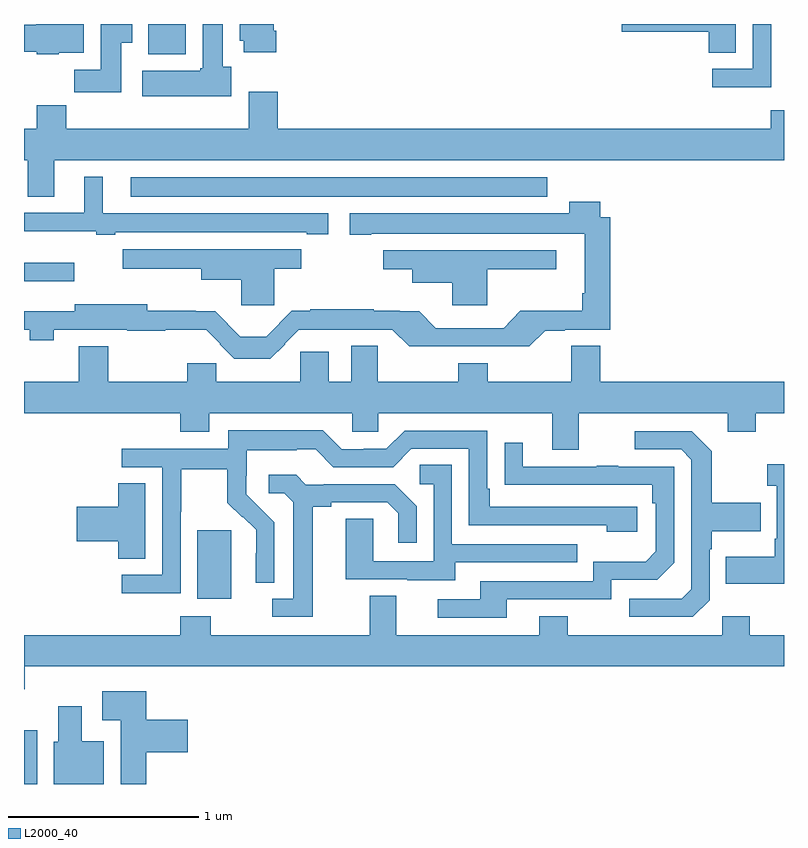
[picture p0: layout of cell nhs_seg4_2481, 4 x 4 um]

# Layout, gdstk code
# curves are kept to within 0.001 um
import gdstk
lib = gdstk.Library(unit=1e-6, precision=1e-09)
def R(c, l, rs):  # rectangles x0, y0, x1, y1
    for r in rs: c.add(gdstk.rectangle(r[:2], r[2:], *l))
def P(c, l, *ps):  # polygons
    for p in ps: c.add(gdstk.Polygon(p, *l))
L2000_40 = (2000, 40)

nhs_seg4_2481 = lib.new_cell('nhs_seg4_2481')
R(nhs_seg4_2481, L2000_40, [(241,762.9,241.069,763.183), (241.913,763.874,242.092,764.235), (241,765.545,241.264,765.643), (241.563,765.992,243.754,766.093), (241.655,766.742,241.852,766.9)])
P(nhs_seg4_2481, L2000_40, [(244.932,766.9),(244.836,766.9),(244.836,766.665),(244.623,766.665),(244.623,766.567),(244.932,766.567)],
  [(244.747,766.9),(244.146,766.9),(244.146,766.859),(244.604,766.859),(244.604,766.75),(244.747,766.75)],
  [(241.513,766.801),(241.57,766.801),(241.57,766.9),(241.403,766.9),(241.403,766.66),(241.264,766.66),(241.264,766.542),(241.513,766.542)],
  [(242.327,766.864),(242.314,766.864),(242.314,766.9),(242.135,766.9),(242.135,766.812),(242.156,766.812),(242.156,766.752),(242.327,766.752)],
  [(242.092,766.674),(242.047,766.674),(242.047,766.9),(241.94,766.9),(241.94,766.668),(241.927,766.668),(241.927,766.654),(241.623,766.654),(241.623,766.52),(242.092,766.52)],
  [(241.182,766.748),(241.315,766.748),(241.315,766.9),(241.064,766.9),(241.064,766.895),(241,766.895),(241,766.753),(241.068,766.753),(241.068,766.742),(241.182,766.742)],
  [(241.159,766.184),(245,766.184),(245,766.447),(244.931,766.447),(244.931,766.348),(242.336,766.348),(242.336,766.543),(242.183,766.543),(242.183,766.348),(241.223,766.348),(241.223,766.472),(241.067,766.472),(241.067,766.348),(241,766.348),(241,766.184),(241.019,766.184),(241.019,765.991),(241.159,765.991)],
  [(241.48,765.803),(242.489,765.803),(242.489,765.793),(242.602,765.793),(242.602,765.904),(241.414,765.904),(241.414,766.096),(241.316,766.096),(241.316,765.906),(241,765.906),(241,765.809),(241.38,765.809),(241.38,765.791),(241.48,765.791)],
  [(242.374,765.215),(242.372,765.218),(242.445,765.291),(242.939,765.291),(243.027,765.203),(243.66,765.203),(243.743,765.286),(243.847,765.286),(243.847,765.291),(244.085,765.291),(244.085,765.883),(244.034,765.883),(244.034,765.964),(243.869,765.964),(243.869,765.904),(242.715,765.904),(242.715,765.79),(242.827,765.79),(242.827,765.797),(243.95,765.797),(243.95,765.484),(243.938,765.484),(243.938,765.39),(243.613,765.39),(243.524,765.3),(243.168,765.3),(243.08,765.388),(242.978,765.388),(242.978,765.39),(242.84,765.39),(242.84,765.4),(242.506,765.4),(242.506,765.39),(242.409,765.39),(242.274,765.255),(242.139,765.255),(242.006,765.388),(241.904,765.388),(241.904,765.39),(241.648,765.39),(241.648,765.424),(241.268,765.424),(241.268,765.388),(241,765.388),(241,765.291),(241.029,765.291),(241.029,765.236),(241.157,765.236),(241.157,765.291),(241.544,765.291),(241.544,765.286),(241.744,765.286),(241.744,765.29),(241.96,765.29),(242.033,765.218),(242.03,765.215),(242.107,765.137),(242.297,765.137)],
  [(242.318,765.611),(242.458,765.611),(242.458,765.715),(241.521,765.715),(241.521,765.611),(241.934,765.611),(241.934,765.554),(242.144,765.554),(242.144,765.42),(242.318,765.42)],
  [(243.437,765.61),(243.802,765.61),(243.802,765.708),(242.892,765.708),(242.892,765.61),(243.044,765.61),(243.044,765.539),(243.254,765.539),(243.254,765.42),(243.437,765.42)],
  [(241.443,765.205),(241.288,765.205),(241.288,765.016),(241,765.016),(241,764.852),(241.823,764.852),(241.823,764.753),(241.975,764.753),(241.975,764.852),(242.727,764.852),(242.727,764.754),(242.865,764.754),(242.865,764.852),(243.779,764.852),(243.779,764.658),(243.919,764.658),(243.919,764.852),(244.703,764.852),(244.703,764.753),(244.851,764.753),(244.851,764.852),(245,764.852),(245,765.016),(244.034,765.016),(244.034,765.206),(243.881,765.206),(243.881,765.016),(243.441,765.016),(243.441,765.115),(243.286,765.115),(243.286,765.016),(242.863,765.016),(242.863,765.206),(242.723,765.206),(242.723,765.016),(242.605,765.016),(242.605,765.175),(242.454,765.175),(242.454,765.016),(242.012,765.016),(242.012,765.114),(241.858,765.114),(241.858,765.016),(241.443,765.016)],
  [(241.824,764.332),(241.827,764.332),(241.827,764.556),(242.071,764.556),(242.071,764.381),(242.148,764.304),(242.151,764.307),(242.222,764.237),(242.222,764.114),(242.22,764.114),(242.22,763.96),(242.316,763.96),(242.316,764.278),(242.17,764.426),(242.17,764.523),(242.172,764.523),(242.172,764.657),(242.435,764.657),(242.435,764.661),(242.535,764.661),(242.628,764.568),(242.943,764.568),(243.039,764.664),(243.342,764.664),(243.342,764.262),(244.067,764.262),(244.067,764.228),(244.228,764.228),(244.228,764.358),(243.451,764.358),(243.451,764.455),(243.438,764.455),(243.438,764.76),(243.003,764.76),(242.907,764.664),(242.789,764.664),(242.789,764.661),(242.673,764.661),(242.573,764.761),(242.076,764.761),(242.076,764.664),(241.515,764.664),(241.515,764.568),(241.728,764.568),(241.728,764.001),(241.515,764.001),(241.515,763.903),(241.824,763.903)],
  [(244.608,763.866),(244.608,764.135),(244.621,764.135),(244.621,764.231),(244.877,764.231),(244.877,764.379),(244.621,764.379),(244.621,764.651),(244.515,764.757),(244.215,764.757),(244.215,764.661),(244.458,764.661),(244.512,764.607),(244.512,763.926),(244.461,763.875),(244.185,763.875),(244.185,763.779),(244.521,763.779)],
  [(243.541,763.872),(244.092,763.872),(244.092,763.974),(244.332,763.974),(244.422,764.064),(244.422,764.571),(244.127,764.571),(244.127,764.576),(244.015,764.576),(244.015,764.571),(243.625,764.571),(243.625,764.695),(243.529,764.695),(243.529,764.476),(244.306,764.475),(244.306,764.378),(244.326,764.378),(244.326,764.124),(244.273,764.071),(243.996,764.071),(243.996,763.968),(243.401,763.968),(243.401,763.872),(243.177,763.872),(243.177,763.776),(243.541,763.776)],
  [(245,764.584),(244.911,764.584),(244.911,764.471),(244.962,764.471),(244.962,764.191),(244.95,764.191),(244.95,764.095),(244.693,764.095),(244.693,763.955),(245,763.955)],
  [(243.271,764.067),(243.911,764.067),(243.911,764.163),(243.252,764.163),(243.252,764.579),(243.084,764.579),(243.084,764.478),(243.156,764.478),(243.156,764.073),(242.838,764.073),(242.838,764.297),(242.693,764.297),(242.693,763.977),(243.017,763.977),(243.017,763.973),(243.271,763.973)],
  [(242.521,764.36),(242.617,764.36),(242.617,764.382),(242.912,764.382),(242.969,764.325),(242.969,764.169),(243.066,764.169),(243.066,764.362),(242.95,764.478),(242.578,764.478),(242.578,764.475),(242.484,764.475),(242.432,764.527),(242.289,764.527),(242.289,764.43),(242.37,764.43),(242.417,764.383),(242.417,763.875),(242.307,763.875),(242.307,763.779),(242.521,763.779)],
  [(241.639,764.483),(241.496,764.483),(241.496,764.36),(241.278,764.36),(241.278,764.177),(241.496,764.177),(241.496,764.086),(241.639,764.086)],
  [(245,763.684),(244.821,763.684),(244.821,763.783),(244.674,763.783),(244.674,763.684),(243.861,763.684),(243.861,763.783),(243.713,763.783),(243.713,763.684),(242.959,763.684),(242.959,763.892),(242.819,763.892),(242.819,763.684),(241.983,763.684),(241.983,763.783),(241.823,763.783),(241.823,763.684),(241,763.684),(241,763.4),(241.005,763.4),(241.005,763.52),(245,763.52)],
  [(241.643,763.067),(241.861,763.067),(241.861,763.237),(241.643,763.237),(241.643,763.387),(241.413,763.387),(241.413,763.235),(241.508,763.235),(241.508,762.9),(241.643,762.9)],
  [(241.42,763.126),(241.303,763.126),(241.303,763.309),(241.181,763.309),(241.181,763.122),(241.157,763.122),(241.157,762.9),(241.42,762.9)])

lib.write_gds('nhs_seg4_2481.gds')
